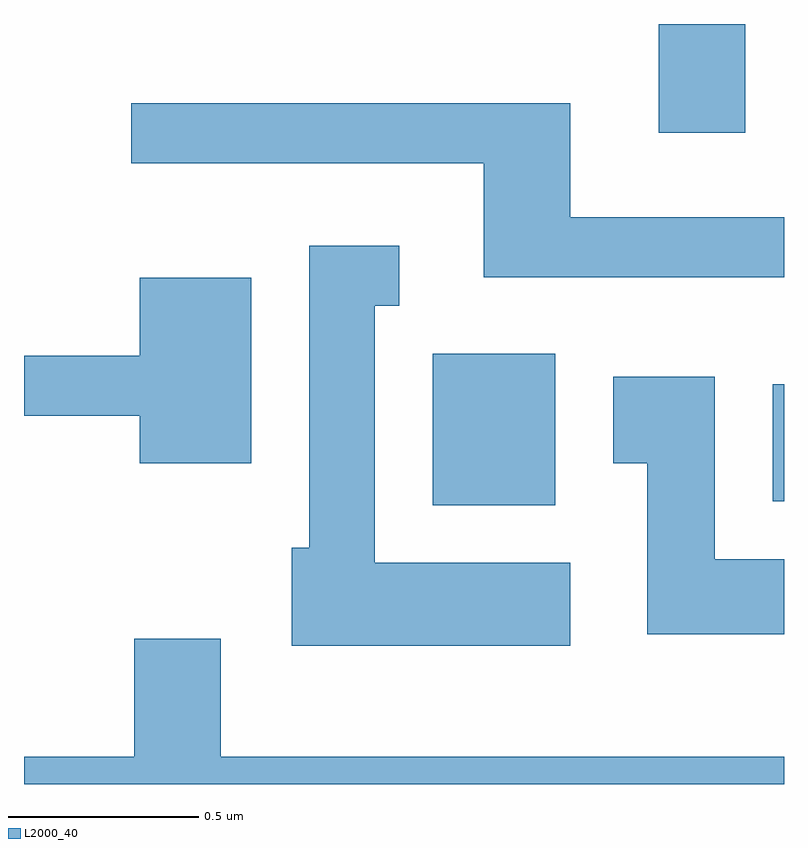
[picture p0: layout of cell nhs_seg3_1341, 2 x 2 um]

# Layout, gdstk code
import gdstk
lib = gdstk.Library(unit=1e-6, precision=1e-09)
def R(c, l, rs):  # rectangles x0, y0, x1, y1
    for r in rs: c.add(gdstk.rectangle(r[:2], r[2:], *l))
def P(c, l, *ps):  # polygons
    for p in ps: c.add(gdstk.Polygon(p, *l))
L2000_40 = (2000, 40)

nhs_seg3_1341 = lib.new_cell('nhs_seg3_1341')
R(nhs_seg3_1341, L2000_40, [(195.686,1224.626,196.009,1225.024), (196.581,1224.636,196.611,1224.944), (196.281,1225.606,196.509,1225.892)])
P(nhs_seg3_1341, L2000_40, [(196.611,1225.384),(196.049,1225.384),(196.049,1225.684),(194.893,1225.684),(194.893,1225.526),(195.821,1225.526),(195.821,1225.226),(196.611,1225.226)],
  [(196.049,1224.474),(195.534,1224.474),(195.534,1225.151),(195.598,1225.151),(195.598,1225.309),(195.361,1225.309),(195.361,1224.514),(195.316,1224.514),(195.316,1224.256),(196.049,1224.256)],
  [(195.209,1225.224),(194.916,1225.224),(194.916,1225.019),(194.611,1225.019),(194.611,1224.861),(194.916,1224.861),(194.916,1224.736),(195.209,1224.736)],
  [(196.611,1224.484),(196.429,1224.484),(196.429,1224.964),(196.161,1224.964),(196.161,1224.736),(196.251,1224.736),(196.251,1224.286),(196.611,1224.286)],
  [(196.611,1223.964),(195.129,1223.964),(195.129,1224.274),(194.901,1224.274),(194.901,1223.964),(194.611,1223.964),(194.611,1223.892),(196.611,1223.892)])

lib.write_gds('nhs_seg3_1341.gds')
